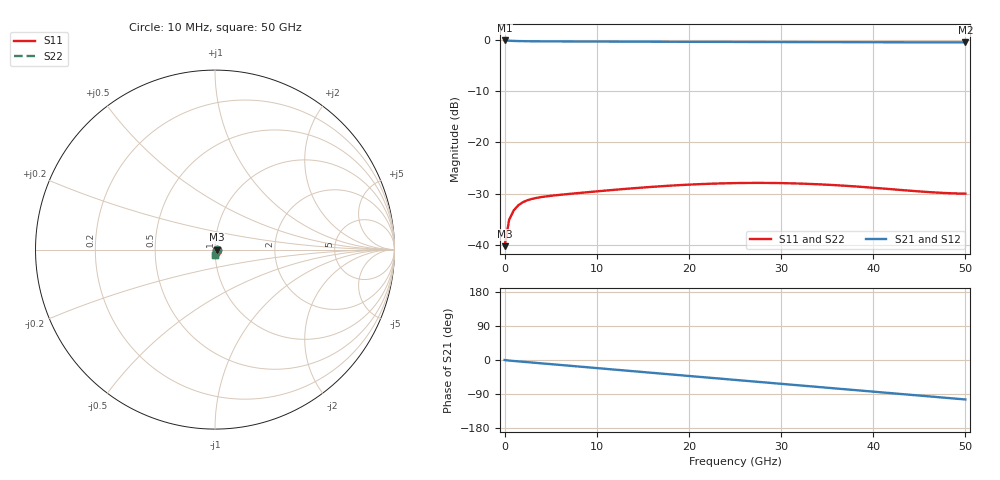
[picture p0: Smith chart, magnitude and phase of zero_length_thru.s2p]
#  GHZ S DB R 50
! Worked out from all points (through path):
!   102 points, 10 MHz to 50 GHz, reference 50 ohm
!   highest |S21| = -0.08 dB at 10 MHz (marker M1); lowest = -0.5 dB at 50 GHz (marker M2)
!   group delay of S21, straight-line fit = 5.76 ps
!   lowest |S11| = -40.3 dB at 10 MHz (marker M3), VSWR 1.02, Z = 51 + j0.0316 ohm
!   |S11| at or under -10 dB: start of sweep to end of sweep
!   |S22| runs from -40.3 to -27.9 dB; largest |S21 - S12| = 4.6e-14
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0.01  -40.29 1.8  -0.08 -0.0  -0.08 -0.0  -40.29 1.8
0.02  -40.25 3.6  -0.08 -0.1  -0.08 -0.1  -40.25 3.6
0.5  -35.14 21.9  -0.14 -1.5  -0.14 -1.5  -35.14 21.9
1  -33.28 18.5  -0.18 -2.6  -0.18 -2.6  -33.28 18.5
1.5  -32.29 14.2  -0.20 -3.7  -0.20 -3.7  -32.29 14.2
2  -31.69 10.0  -0.22 -4.7  -0.22 -4.7  -31.69 10.0
2.5  -31.30 6.2  -0.24 -5.7  -0.24 -5.7  -31.30 6.2
3.5  -30.84 -0.3  -0.25 -7.8  -0.25 -7.8  -30.84 -0.3
5  -30.45 -8.3  -0.27 -10.9  -0.27 -10.9  -30.45 -8.3
8.5  -29.82 -23.3  -0.29 -18.2  -0.29 -18.2  -29.82 -23.3
12.5  -29.19 -38.2  -0.31 -26.5  -0.31 -26.5  -29.19 -38.2
14.5  -28.90 -45.1  -0.32 -30.7  -0.32 -30.7  -28.90 -45.1
17  -28.57 -53.2  -0.34 -35.9  -0.34 -35.9  -28.58 -53.2
21.5  -28.14 -66.3  -0.36 -45.2  -0.36 -45.2  -28.14 -66.3
25.5  -27.95 -76.4  -0.38 -53.5  -0.38 -53.5  -27.95 -76.4
29.5  -27.95 -84.9  -0.39 -61.8  -0.39 -61.8  -27.95 -84.9
33.5  -28.15 -91.7  -0.41 -70.1  -0.41 -70.1  -28.16 -91.7
36  -28.38 -94.9  -0.42 -75.2  -0.42 -75.2  -28.39 -94.9
38  -28.61 -96.8  -0.43 -79.4  -0.43 -79.4  -28.62 -96.8
42  -29.16 -98.5  -0.44 -87.6  -0.44 -87.6  -29.18 -98.5
46  -29.71 -97.0  -0.45 -95.9  -0.45 -95.9  -29.74 -97.0
50  -30.02 -91.9  -0.46 -104.2  -0.46 -104.2  -30.05 -91.9
